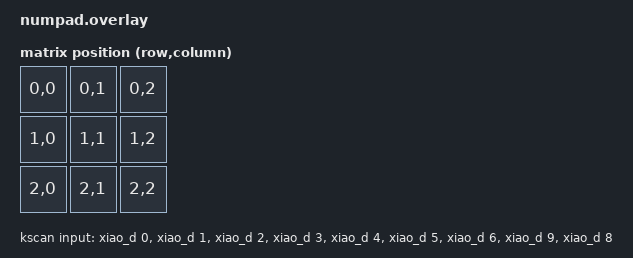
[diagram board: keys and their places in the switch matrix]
// See https://zmk.dev/docs/development/hardware-integration/new-shield for more
// instructions.

#include <dt-bindings/zmk/matrix_transform.h>

#include "numpad-layouts.dtsi"

/ {
    chosen {
        zmk,physical-layout = &default_layout;
    };

    kscan: kscan {
        compatible = "zmk,kscan-gpio-direct";
        wakeup-source;

        input-gpios
            = <&xiao_d 0 (GPIO_ACTIVE_LOW | GPIO_PULL_UP)>  // SW1
            , <&xiao_d 1 (GPIO_ACTIVE_LOW | GPIO_PULL_UP)>  // SW2
            , <&xiao_d 2 (GPIO_ACTIVE_LOW | GPIO_PULL_UP)>  // SW3
            , <&xiao_d 3 (GPIO_ACTIVE_LOW | GPIO_PULL_UP)>  // SW4
            , <&xiao_d 4 (GPIO_ACTIVE_LOW | GPIO_PULL_UP)>  // SW5
            , <&xiao_d 5 (GPIO_ACTIVE_LOW | GPIO_PULL_UP)>  // SW6
            , <&xiao_d 6 (GPIO_ACTIVE_LOW | GPIO_PULL_UP)>  // SW7
            , <&xiao_d 9 (GPIO_ACTIVE_LOW | GPIO_PULL_UP)>  // SW8
            , <&xiao_d 8 (GPIO_ACTIVE_LOW | GPIO_PULL_UP)>  // SW9
            ;
    };

    default_transform: default_transform {
        compatible = "zmk,matrix-transform";
        columns = <3>;
        rows = <3>;

        map =<
            RC(0,0) RC(0,1) RC(0,2)
            RC(1,0) RC(1,1) RC(1,2)
            RC(2,0) RC(2,1) RC(2,2)
        >;
    };
};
